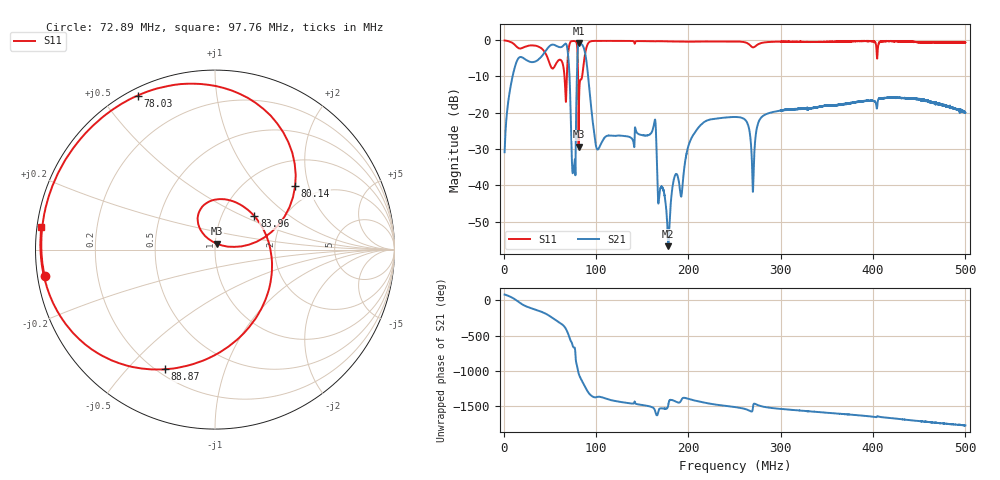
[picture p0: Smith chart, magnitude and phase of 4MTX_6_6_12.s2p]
! NanoVNA-App
! Date: 2026-08-18 22:16:15
! Start: 1MHz Stop: 500MHz Points: 6401
! S-Parameter data: F S11 S21 S12 S22
# Hz S RI R 50
!  Frequency  S11_Real  S11_Imag  S21_Real  S21_Imag  S12_Real  S12_Imag  S22_Real  S22_Imag
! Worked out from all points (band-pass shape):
!   6401 points, 1 MHz to 500 MHz, reference 50 ohm
!   highest |S21| = -0.83 dB at 81.31 MHz (marker M1); lowest = -56.7 dB at 178.3 MHz (marker M2)
!   |S21| within 3 dB of the highest: 43.04 MHz to 69.65 MHz (26.61 MHz wide, 47.2 % of centre); 80.03 MHz to 88.38 MHz (8.344 MHz wide, 9.91 % of centre)
!   lowest |S11| = -29.3 dB at 81.15 MHz (marker M3), VSWR 1.07, Z = 50.9 + j3.33 ohm
!   |S11| at or under -10 dB: 65.84 MHz to 68.4 MHz (2.554 MHz wide, 3.81 % of centre); 80.55 MHz to 84.96 MHz (4.412 MHz wide, 5.33 % of centre)
!   S12 and S22 are empty: the file has one direction only
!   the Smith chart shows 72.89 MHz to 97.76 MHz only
!   S11 on the Smith chart (normalised r, x): 72.89 MHz: 0.02, -0.08; 78.03 MHz: 0.03, +0.62; 80.14 MHz: 1.57, +1.64; 83.96 MHz: 1.42, +0.58; 88.87 MHz: 0.23, -0.64; 97.76 MHz: 0.01, +0.07
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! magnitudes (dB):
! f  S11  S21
! 1 MHz  -0.1  -30.9
! 14.72 MHz  -2.0  -5.5
! 52.23 MHz  -7.8  -1.3
! 68.05 MHz  -12.7  -1.3
! 72.89 MHz  -0.4  -24.0
! 78.03 MHz  -0.4  -28.7
! 80.14 MHz  -4.9  -3.2
! 81.15 MHz  -29.3  -0.8
! 81.31 MHz  -23.1  -0.8
! 83.96 MHz  -10.8  -1.1
! 84.19 MHz  -10.8  -1.1
! 88.87 MHz  -2.8  -4.5
! 97.76 MHz  -0.2  -25.3
! 162.6 MHz  -0.3  -23.5
! 167.4 MHz  -0.3  -44.9
! 178.3 MHz  -0.3  -56.7
! 205.8 MHz  -0.4  -25.9
! 250.5 MHz  -0.4  -21.2
! 269.9 MHz  -2.0  -41.8
! 333.7 MHz  -0.5  -18.7
! 416.9 MHz  -0.3  -15.9
! 500 MHz  -0.6  -19.9
